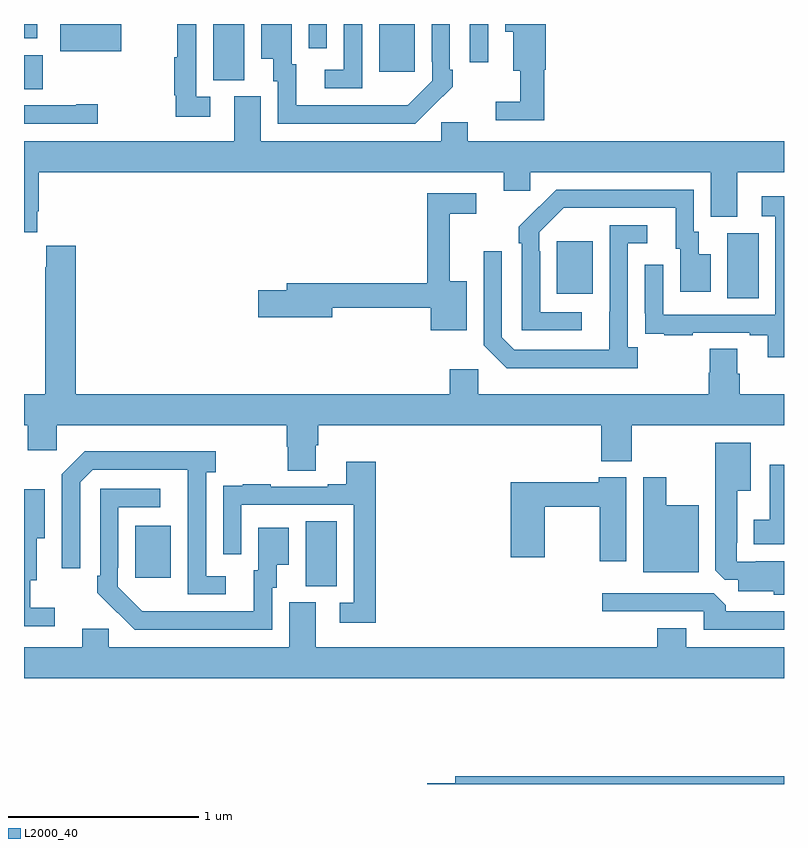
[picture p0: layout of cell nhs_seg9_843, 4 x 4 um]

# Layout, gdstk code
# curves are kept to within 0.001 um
import gdstk
lib = gdstk.Library(unit=1e-6, precision=1e-09)
def R(c, l, rs):  # rectangles x0, y0, x1, y1
    for r in rs: c.add(gdstk.rectangle(r[:2], r[2:], *l))
def P(c, l, *ps):  # polygons
    for p in ps: c.add(gdstk.Polygon(p, *l))
L2000_40 = (2000, 40)

nhs_seg9_843 = lib.new_cell('nhs_seg9_843')
R(nhs_seg9_843, L2000_40, [(156.482,1227.541,156.646,1227.884), (155.585,1227.585,155.773,1227.859), (158.702,1229.056,158.866,1229.4), (157.805,1229.081,157.993,1229.356), (155,1230.157,155.099,1230.336), (155.996,1230.205,156.16,1230.5), (156.869,1230.249,157.057,1230.5), (157.347,1230.3,157.443,1230.5), (155.19,1230.356,155.512,1230.5), (156.498,1230.372,156.594,1230.5), (155,1230.425,155.071,1230.5)])
P(nhs_seg9_843, L2000_40, [(156.78,1230.5),(156.684,1230.5),(156.684,1230.258),(156.582,1230.258),(156.582,1230.162),(156.78,1230.162)],
  [(157.151,1230.067),(157.152,1230.066),(157.257,1230.171),(157.257,1230.259),(157.242,1230.259),(157.242,1230.5),(157.146,1230.5),(157.146,1230.301),(157.149,1230.301),(157.149,1230.201),(157.021,1230.073),(156.917,1230.072),(156.433,1230.072),(156.433,1230.288),(156.409,1230.288),(156.409,1230.5),(156.248,1230.5),(156.248,1230.317),(156.311,1230.317),(156.311,1230.198),(156.336,1230.198),(156.336,1229.976),(157.06,1229.976)],
  [(157.739,1230.258),(157.745,1230.258),(157.745,1230.5),(157.532,1230.5),(157.532,1230.458),(157.574,1230.458),(157.574,1230.254),(157.611,1230.254),(157.611,1230.091),(157.482,1230.091),(157.482,1229.994),(157.739,1229.994)],
  [(155.98,1230.117),(155.907,1230.117),(155.907,1230.5),(155.806,1230.5),(155.806,1230.324),(155.791,1230.324),(155.791,1230.124),(155.799,1230.124),(155.799,1230.012),(155.98,1230.012)],
  [(157.526,1229.622),(157.665,1229.622),(157.665,1229.72),(158.615,1229.72),(158.615,1229.485),(158.755,1229.485),(158.755,1229.72),(159,1229.72),(159,1229.884),(157.336,1229.884),(157.336,1229.982),(157.197,1229.982),(157.197,1229.884),(156.247,1229.884),(156.247,1230.12),(156.107,1230.12),(156.107,1229.884),(155,1229.884),(155,1229.403),(155.071,1229.403),(155.071,1229.515),(155.078,1229.515),(155.078,1229.72),(157.526,1229.72)],
  [(155.389,1230.077),(155.276,1230.077),(155.276,1230.072),(155,1230.072),(155,1229.976),(155.389,1229.976)],
  [(157.936,1228.983),(157.716,1228.983),(157.716,1229.303),(157.713,1229.303),(157.713,1229.403),(157.842,1229.532),(158.429,1229.532),(158.429,1229.316),(158.453,1229.316),(158.453,1229.091),(158.614,1229.091),(158.614,1229.287),(158.551,1229.287),(158.551,1229.406),(158.526,1229.406),(158.526,1229.628),(157.802,1229.628),(157.605,1229.433),(157.605,1229.345),(157.62,1229.345),(157.62,1228.887),(157.936,1228.887)],
  [(157.33,1229.146),(157.241,1229.146),(157.241,1229.502),(157.381,1229.502),(157.381,1229.61),(157.123,1229.61),(157.123,1229.135),(156.383,1229.135),(156.383,1229.099),(156.234,1229.099),(156.234,1228.957),(156.622,1228.957),(156.622,1229.007),(157.142,1229.007),(157.142,1228.889),(157.33,1228.889)],
  [(159,1229.593),(158.883,1229.593),(158.883,1229.487),(158.955,1229.487),(158.955,1228.971),(158.364,1228.971),(158.364,1229.233),(158.268,1229.233),(158.268,1228.978),(158.269,1228.978),(158.269,1228.869),(158.371,1228.869),(158.371,1228.863),(158.519,1228.863),(158.519,1228.875),(158.819,1228.875),(158.819,1228.863),(158.915,1228.863),(158.915,1228.746),(159,1228.746)],
  [(158.23,1228.798),(158.178,1228.798),(158.178,1229.346),(158.281,1229.346),(158.281,1229.442),(158.082,1229.442),(158.081,1228.785),(157.581,1228.785),(157.515,1228.851),(157.515,1229.305),(157.419,1229.305),(157.419,1228.809),(157.54,1228.688),(158.23,1228.688)],
  [(156.535,1228.282),(156.548,1228.282),(156.548,1228.388),(158.039,1228.388),(158.039,1228.199),(158.199,1228.199),(158.199,1228.388),(159,1228.388),(159,1228.552),(158.768,1228.552),(158.768,1228.658),(158.755,1228.658),(158.755,1228.79),(158.608,1228.79),(158.608,1228.665),(158.603,1228.665),(158.603,1228.552),(157.392,1228.552),(157.392,1228.684),(157.241,1228.684),(157.241,1228.552),(155.273,1228.552),(155.273,1229.332),(155.117,1229.332),(155.117,1229.219),(155.113,1229.219),(155.113,1228.552),(155,1228.552),(155,1228.388),(155.021,1228.388),(155.021,1228.257),(155.172,1228.257),(155.172,1228.388),(156.383,1228.388),(156.383,1228.275),(156.388,1228.275),(156.388,1228.15),(156.535,1228.15)],
  [(159,1227.673),(158.851,1227.673),(158.851,1227.669),(158.751,1227.669),(158.751,1227.769),(158.755,1227.769),(158.755,1228.043),(158.824,1228.043),(158.824,1228.297),(158.639,1228.297),(158.639,1227.625),(158.688,1227.576),(158.759,1227.576),(158.759,1227.515),(158.946,1227.515),(158.946,1227.497),(159,1227.497)],
  [(156.061,1227.594),(155.958,1227.594),(155.958,1228.142),(156.01,1228.142),(156.01,1228.252),(155.32,1228.252),(155.199,1228.131),(155.199,1227.636),(155.295,1227.636),(155.295,1228.089),(155.361,1228.155),(155.861,1228.155),(155.862,1227.498),(156.061,1227.498)],
  [(156.851,1228.195),(156.695,1228.195),(156.695,1228.078),(156.599,1228.078),(156.599,1228.065),(156.299,1228.065),(156.299,1228.078),(156.151,1228.078),(156.151,1228.071),(156.049,1228.071),(156.049,1227.962),(156.048,1227.962),(156.048,1227.708),(156.144,1227.708),(156.144,1227.969),(156.735,1227.969),(156.735,1227.453),(156.663,1227.453),(156.663,1227.348),(156.851,1227.348)],
  [(159,1228.18),(158.924,1228.18),(158.924,1227.892),(158.84,1227.892),(158.84,1227.761),(159,1227.761)],
  [(158.17,1228.114),(158.024,1228.114),(158.024,1228.087),(157.562,1228.087),(157.562,1227.693),(157.74,1227.693),(157.74,1227.958),(158.029,1227.958),(158.029,1227.672),(158.17,1227.672)],
  [(158.551,1227.967),(158.38,1227.967),(158.38,1228.114),(158.258,1228.114),(158.258,1227.614),(158.551,1227.614)],
  [(156.306,1227.534),(156.331,1227.534),(156.331,1227.653),(156.394,1227.653),(156.394,1227.85),(156.233,1227.85),(156.233,1227.624),(156.209,1227.624),(156.209,1227.408),(155.622,1227.409),(155.493,1227.537),(155.493,1227.637),(155.496,1227.637),(155.496,1227.957),(155.716,1227.957),(155.716,1228.053),(155.4,1228.053),(155.4,1227.595),(155.385,1227.595),(155.385,1227.507),(155.582,1227.312),(156.306,1227.312)],
  [(155.161,1227.427),(155.032,1227.427),(155.032,1227.572),(155.068,1227.572),(155.068,1227.794),(155.11,1227.794),(155.11,1228.051),(155,1228.051),(155,1227.33),(155.161,1227.33)],
  [(159,1227.408),(158.693,1227.408),(158.693,1227.442),(158.631,1227.504),(158.043,1227.504),(158.043,1227.408),(158.577,1227.408),(158.577,1227.312),(159,1227.312)],
  [(159,1227.22),(158.485,1227.22),(158.485,1227.319),(158.333,1227.319),(158.333,1227.22),(156.535,1227.22),(156.535,1227.456),(156.395,1227.456),(156.395,1227.22),(155.445,1227.22),(155.445,1227.318),(155.306,1227.318),(155.306,1227.22),(155,1227.22),(155,1227.056),(159,1227.056)],
  [(159,1226.54),(157.271,1226.54),(157.271,1226.504),(157.122,1226.504),(157.122,1226.5),(159,1226.5)])

lib.write_gds('nhs_seg9_843.gds')
